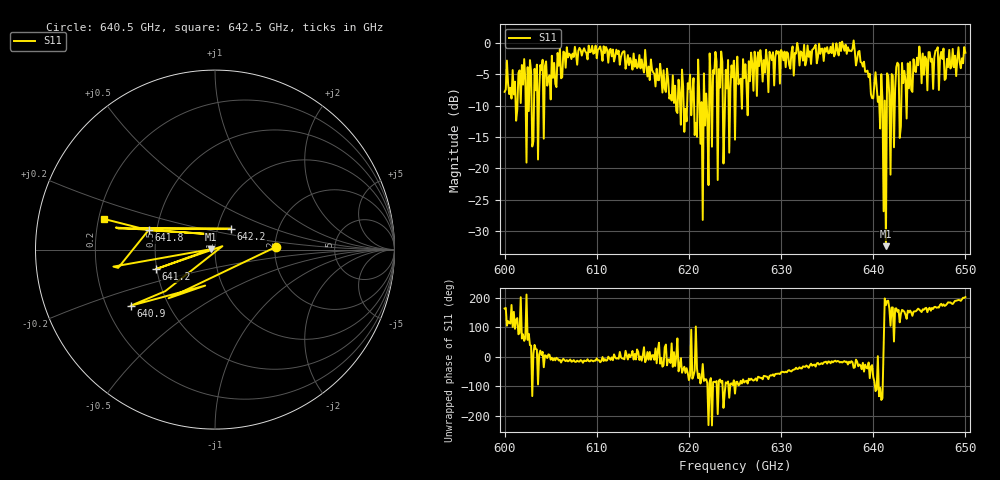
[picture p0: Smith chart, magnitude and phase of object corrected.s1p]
!Created with skrf (http://scikit-rf.org).
# GHz S MA R 50.0
!freq magS11 angS11
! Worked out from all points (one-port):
!   401 points, 600 GHz to 650 GHz, reference 50 ohm
!   lowest |S11| = -32.4 dB at 641.4 GHz (marker M1), VSWR 1.05, Z = 47.7 + j0.188 ohm
!   |S11| at or under -10 dB: 601.2021 GHz to 601.3886 GHz (186.4 MHz wide, 0.031 % of centre); 619.4277 GHz to 619.8012 GHz (373.4 MHz wide, 0.0603 % of centre); 620.5607 GHz to 620.9254 GHz (364.7 MHz wide, 0.0588 % of centre) (the widest 3 of 29)
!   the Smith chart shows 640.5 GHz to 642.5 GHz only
!   S11 on the Smith chart (normalised r, x): 640.5 GHz: 2.02, +0.07; 640.9 GHz: 0.30, -0.28; 641.2 GHz: 0.49, -0.12; 641.8 GHz: 0.45, +0.11; 642.2 GHz: 1.16, +0.28; 642.5 GHz: 0.22, +0.13
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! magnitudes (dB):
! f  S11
! 600 GHz  -7.8
! 601.5 GHz  -4.8
! 601.9 GHz  -3.5
! 603.4 GHz  -7.5
! 606.2 GHz  -5.4
! 612.5 GHz  -3.5
! 618.8 GHz  -11.2
! 620.2 GHz  -11.5
! 621.5 GHz  -28.2
! 622.2 GHz  -1.6
! 622.8 GHz  -4.9
! 623.9 GHz  -12.3
! 625 GHz  -15.4
! 631.2 GHz  -0.5
! 637.5 GHz  -1.2
! 640.5 GHz  -9.4
! 640.9 GHz  -5.0
! 641.2 GHz  -9.2
! 641.4 GHz  -32.4
! 641.5 GHz  -4.8
! 641.6 GHz  -5.2
! 641.8 GHz  -8.3
! 642.1 GHz  -5.2
! 642.2 GHz  -16.6
! 642.5 GHz  -3.8
! 643.8 GHz  -3.2
! 644.9 GHz  -3.5
! 650 GHz  -1.5
